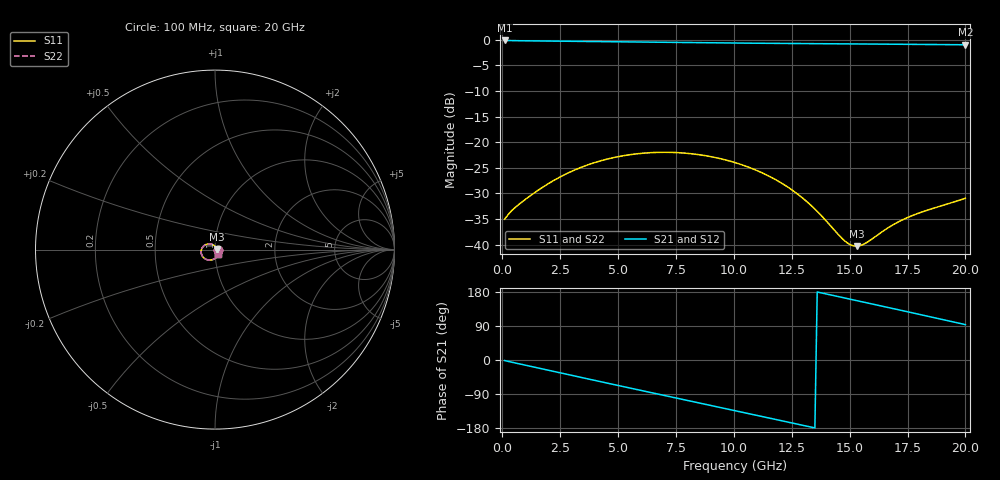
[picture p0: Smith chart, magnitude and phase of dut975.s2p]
! Touchstone file exported from HFSS 2026.1.0
!  File:  C:/ffzhzh/LocalFiles/Ansys_Project_Files/temp_train_TSV_RDL_975_1783286283_30076.aedt
!  Generated:  05:24:38 AM Jul  6, 2026
!  Design:  TSV_RDL
!  Project:  temp_train_TSV_RDL_975_1783286283_30076
! Variables:
!  h_bsmrdl = 3.6um
!  h_ox = 20um
!  h_rdl = 5um
!  h_sub = 94.17um
!  h_tmrdl = 4.07um
!  h_tsv = 94.17um
!  h_via = 3um
!  l_bsmrdl = 778.07um
!  l_sub = 3548.8um
!  l_tmrdl = 175.92um
!  m_sub = 200um
!  pitch = 25.51um
!  r_tsv = 11.83um
!  s_tmrdl = 10um
!  w_bsmrdl = 17.36um
!  w_sub = 500um
!  w_tmrdl = 19.61um
!  x_tsv_center1 = 185.725um
!  x_tsv_center2 = 981.155um
!  x_tsv_center3 = 1176.685um
!  x_tsv_center4 = 1972.115um
!  x_tsv_center5 = 2167.645um
!  x_tsv_center6 = 2963.075um
# GHz S MA R 50.000000
! Terminal data exported
! Port[1] = TM_RDL1_1_T1
! Port[2] = TM_RDL5_1_T1
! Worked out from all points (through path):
!   200 points, 100 MHz to 20 GHz, reference 50 ohm
!   highest |S21| = -0.16 dB at 100 MHz (marker M1); lowest = -1.0 dB at 20 GHz (marker M2)
!   group delay of S21, straight-line fit = 36.8 ps
!   lowest |S11| = -40.3 dB at 15.3 GHz (marker M3), VSWR 1.02, Z = 50.9 + j0.314 ohm
!   |S11| at or under -10 dB: start of sweep to end of sweep
!   |S22| runs from -40.3 to -22.0 dB; largest |S21 - S12| = 8.7e-14
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0.1  0.01775 0.4  0.9823 -1.5  0.9823 -1.5  0.01775 0.4
! Gamma 0 0 0 0
! Port Impedance 50 0 50 0
0.6  0.02356 -20.1  0.9768 -8.4  0.9768 -8.4  0.02355 -20.1
1.8  0.03707 -66.0  0.971 -24.5  0.971 -24.5  0.03705 -66.0
2.6  0.04712 -86.2  0.9674 -35.2  0.9674 -35.2  0.04709 -86.2
3.5  0.05796 -104.2  0.9627 -47.3  0.9627 -47.3  0.05792 -104.3
4.4  0.06727 -119.8  0.9576 -59.3  0.9576 -59.3  0.06721 -119.9
5.2  0.07363 -132.6  0.9527 -69.9  0.9527 -69.9  0.07355 -132.6
6  0.07782 -144.7  0.9478 -80.5  0.9478 -80.5  0.07773 -144.8
6.8  0.07964 -156.3  0.9431 -91.0  0.9431 -91.0  0.07954 -156.4
7.6  0.07902 -167.7  0.9385 -101.5  0.9385 -101.5  0.07891 -167.9
8.4  0.07603 -179.0  0.9343 -112.0  0.9343 -112.0  0.07591 -179.1
10.1  0.06279 157.3  0.9264 -134.3  0.9264 -134.3  0.06266 157.1
11.8  0.04315 132.4  0.9199 -156.7  0.9199 -156.7  0.04304 132.2
12.6  0.0331 119.1  0.9171 -167.3  0.9171 -167.3  0.03301 118.9
13.4  0.02342 103.0  0.9144 -177.9  0.9144 -177.9  0.02335 102.7
14.8  0.01085 50.4  0.9097 163.5  0.9097 163.5  0.01085 50.0
15.3  0.009682 18.6  0.908 156.9  0.908 156.9  0.009703 18.3
15.7  0.01038 -5.0  0.9067 151.5  0.9067 151.5  0.0104 -5.1
16.7  0.01481 -39.0  0.9033 138.1  0.9033 138.1  0.01478 -38.9
18.4  0.02188 -56.0  0.8974 115.2  0.8974 115.2  0.02176 -55.9
19.2  0.02488 -56.9  0.8946 104.3  0.8946 104.3  0.02474 -56.7
20  0.02837 -55.9  0.8917 93.3  0.8917 93.3  0.02822 -55.5
